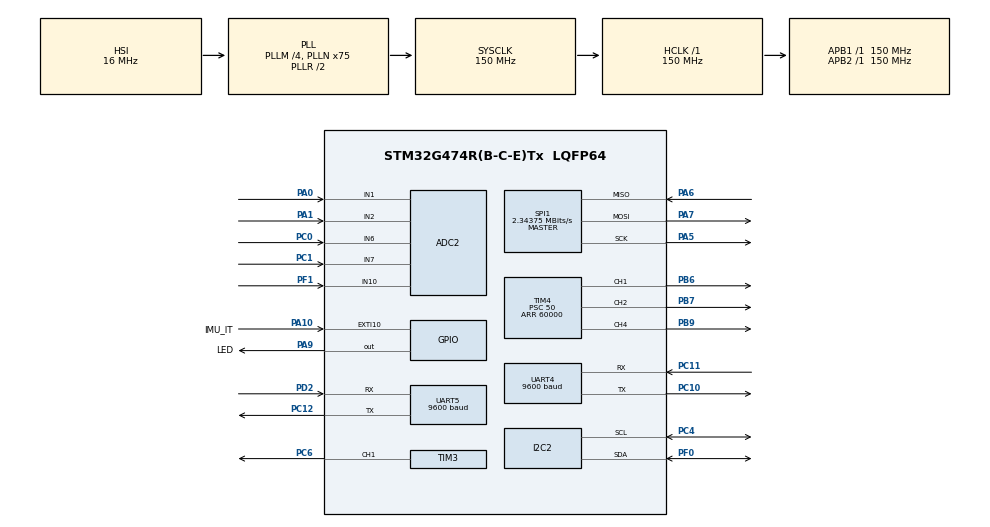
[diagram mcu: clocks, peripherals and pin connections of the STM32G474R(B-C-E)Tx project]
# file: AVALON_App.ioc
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ADC2.Channel-0\#ChannelRegularConversion=ADC_CHANNEL_1
ADC2.Channel-1\#ChannelRegularConversion=ADC_CHANNEL_6
ADC2.Channel-2\#ChannelRegularConversion=ADC_CHANNEL_10
ADC2.ClockPrescaler=ADC_CLOCK_ASYNC_DIV128
ADC2.ContinuousConvMode=ENABLE
ADC2.DMAContinuousRequests=ENABLE
ADC2.EOCSelection=ADC_EOC_SINGLE_CONV
ADC2.NbrOfConversion=3
ADC2.NbrOfConversionFlag=1
ADC2.OffsetNumber-0\#ChannelRegularConversion=ADC_OFFSET_NONE
ADC2.OffsetNumber-1\#ChannelRegularConversion=ADC_OFFSET_NONE
ADC2.OffsetNumber-2\#ChannelRegularConversion=ADC_OFFSET_NONE
ADC2.Overrun=ADC_OVR_DATA_OVERWRITTEN
ADC2.Rank-0\#ChannelRegularConversion=1
ADC2.Rank-1\#ChannelRegularConversion=2
ADC2.Rank-2\#ChannelRegularConversion=3
ADC2.SamplingTime-0\#ChannelRegularConversion=ADC_SAMPLETIME_47CYCLES_5
ADC2.SamplingTime-1\#ChannelRegularConversion=ADC_SAMPLETIME_47CYCLES_5
ADC2.SamplingTime-2\#ChannelRegularConversion=ADC_SAMPLETIME_47CYCLES_5
ADC2.SingleDiff-0\#ChannelRegularConversion=ADC_DIFFERENTIAL_ENDED
ADC2.SingleDiff-1\#ChannelRegularConversion=ADC_DIFFERENTIAL_ENDED
Dma.ADC2.0.Direction=DMA_PERIPH_TO_MEMORY
Dma.ADC2.0.EventEnable=DISABLE
Dma.ADC2.0.Instance=DMA1_Channel1
Dma.ADC2.0.MemDataAlignment=DMA_MDATAALIGN_HALFWORD
Dma.ADC2.0.MemInc=DMA_MINC_ENABLE
Dma.ADC2.0.Mode=DMA_CIRCULAR
Dma.ADC2.0.PeriphDataAlignment=DMA_PDATAALIGN_HALFWORD
Dma.ADC2.0.PeriphInc=DMA_PINC_DISABLE
Dma.ADC2.0.Polarity=HAL_DMAMUX_REQ_GEN_RISING
Dma.ADC2.0.Priority=DMA_PRIORITY_LOW
Dma.ADC2.0.RequestNumber=1
Dma.ADC2.0.SignalID=NONE
Dma.ADC2.0.SyncEnable=DISABLE
Dma.ADC2.0.SyncPolarity=HAL_DMAMUX_SYNC_NO_EVENT
Dma.ADC2.0.SyncRequestNumber=1
Dma.ADC2.0.SyncSignalID=NONE
Dma.Request0=ADC2
FREERTOS.BinarySemaphores01=GPS_UART_Semaphore,Dynamic,NULL;HG_PROTECTION_SEM,Dynamic,NULL
FREERTOS.INCLUDE_xTaskAbortDelay=1
FREERTOS.Mutexes01=I2C_Controller,Dynamic,NULL
FREERTOS.Tasks01=LedTask,0,128,StartLedTask,Default,NULL,Dynamic,NULL,NULL;Roll_PID,-2,128,StartRoll_PID,Default,NULL,Dynamic,NULL,NULL;Pitch_PID,-2,128,StartPitch_PID,Default,NULL,Dynamic,NULL,NULL;Yaw_PID,-2,128,StartYaw_PID,Default,NULL,Dynamic,NULL,NULL;PressureMonitor,-2,128,StartPressureMonitor,Default,NULL,Dynamic,NULL,NULL;GPS,-2,128,StartGPS,Default,NULL,Dynamic,NULL,NULL;MainTask,-2,256,StartMainTask,Default,NULL,Dynamic,NULL,NULL;BatteryMonitori,-2,128,StartBatteryMonitoring,Default,NULL,Dynamic,NULL,NULL;Telemetry,-3,256,StartTelemetry,Default,NULL,Dynamic,NULL,NULL
FREERTOS.configENABLE_FPU=1
FREERTOS.configTOTAL_HEAP_SIZE=12288
FREERTOS.configUSE_NEWLIB_REENTRANT=1
FREERTOS.configUSE_PREEMPTION=0
I2C2.Timing=0x20C0EDFF
Mcu.Family=STM32G4
Mcu.Name=STM32G474R(B-C-E)Tx
Mcu.Package=LQFP64
NVIC.DMA1_Channel1_IRQn=true\:5\:0\:false\:false\:true\:true\:false\:true\:true
NVIC.EXTI15_10_IRQn=true\:5\:0\:false\:false\:true\:true\:true\:true\:true
NVIC.PriorityGroup=NVIC_PRIORITYGROUP_4
NVIC.UART4_IRQn=true\:5\:0\:false\:false\:true\:true\:true\:true\:true
PA0.Mode=IN1-Differential
PA0.Signal=ADC2_IN1
PA1.Mode=IN1-Differential
PA1.Signal=ADC2_IN2
PA10.GPIO_Label=IMU_IT
PA10.Signal=GPXTI10
PA5.Mode=Full_Duplex_Master
PA5.Signal=SPI1_SCK
PA6.Mode=Full_Duplex_Master
PA6.Signal=SPI1_MISO
PA7.Mode=Full_Duplex_Master
PA7.Signal=SPI1_MOSI
PA9.GPIO_Label=LED
PA9.Signal=GPIO_Output
PB6.Signal=S_TIM4_CH1
PB7.Signal=S_TIM4_CH2
PB9.Signal=S_TIM4_CH4
PC0.Mode=IN6-Differential
PC0.Signal=ADC2_IN6
PC1.Mode=IN6-Differential
PC1.Signal=ADC2_IN7
PC10.Mode=Asynchronous
PC10.Signal=UART4_TX
PC11.Mode=Asynchronous
PC11.Signal=UART4_RX
PC12.Mode=Asynchronous
PC12.Signal=UART5_TX
PC4.Mode=I2C
PC4.Signal=I2C2_SCL
PC6.Signal=S_TIM3_CH1
PD2.Mode=Asynchronous
PD2.Signal=UART5_RX
PF0-OSC_IN.Mode=I2C
PF0-OSC_IN.Signal=I2C2_SDA
PF1-OSC_OUT.Mode=IN10-Single-Ended
PF1-OSC_OUT.Signal=ADC2_IN10
ProjectManager.HeapSize=0x200
ProjectManager.StackSize=0x400
ProjectManager.TargetToolchain=STM32CubeIDE
RCC.ADC12Freq_Value=150000000
RCC.ADC345Freq_Value=150000000
RCC.AHBFreq_Value=150000000
RCC.APB1Freq_Value=150000000
RCC.APB1TimFreq_Value=150000000
RCC.APB2Freq_Value=150000000
RCC.APB2TimFreq_Value=150000000
RCC.CK48CLockSelection=RCC_USBCLKSOURCE_HSI48
RCC.CortexFreq_Value=150000000
RCC.EXTERNAL_CLOCK_VALUE=12288000
RCC.HCLKFreq_Value=150000000
RCC.HSE_VALUE=8000000
RCC.HSI48_VALUE=48000000
RCC.HSI_VALUE=16000000
RCC.LSE_VALUE=32768
RCC.PLLM=RCC_PLLM_DIV4
RCC.PLLN=75
RCC.SYSCLKFreq_VALUE=150000000
RCC.SYSCLKSource=RCC_SYSCLKSOURCE_PLLCLK
RCC.USBFreq_Value=48000000
RCC.VCOOutputFreq_Value=300000000
SH.S_TIM3_CH1.0=TIM3_CH1,PWM Generation1 CH1
SH.S_TIM4_CH1.0=TIM4_CH1,PWM Generation1 CH1
SH.S_TIM4_CH2.0=TIM4_CH2,PWM Generation2 CH2
SH.S_TIM4_CH4.0=TIM4_CH4,PWM Generation4 CH4
SPI1.BaudRatePrescaler=SPI_BAUDRATEPRESCALER_64
SPI1.CLKPhase=SPI_PHASE_2EDGE
SPI1.CalculateBaudRate=2.34375 MBits/s
SPI1.DataSize=SPI_DATASIZE_8BIT
SPI1.Direction=SPI_DIRECTION_2LINES
SPI1.Mode=SPI_MODE_MASTER
SPI1.VirtualType=VM_MASTER
TIM2.Channel-PWM\ Generation3\ No\ Output=TIM_CHANNEL_3
TIM2.PeriodNoDither=1440000
TIM3.Channel-PWM\ Generation1\ CH1=TIM_CHANNEL_1
TIM3.PeriodNoDither=7200
TIM3.Prescaler=50
TIM4.Channel-PWM\ Generation1\ CH1=TIM_CHANNEL_1
TIM4.Channel-PWM\ Generation2\ CH2=TIM_CHANNEL_2
TIM4.Channel-PWM\ Generation4\ CH4=TIM_CHANNEL_4
TIM4.PeriodNoDither=60000
TIM4.Prescaler=50
TIM4.PulseNoDither_1=2880
TIM4.PulseNoDither_2=2880
TIM4.PulseNoDither_4=6000
UART4.BaudRate=9600
UART5.BaudRate=9600
VP_FREERTOS_VS_CMSIS_V1.Mode=CMSIS_V1
VP_TIM2_VS_no_output3.Mode=PWM Generation3 No Output
board=custom

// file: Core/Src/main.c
/* USER CODE BEGIN Header */
/**
  ******************************************************************************
  * @file           : main.c
  * @brief          : Main program body
  ******************************************************************************
  * @attention
  *
  * Copyright (c) 2023 STMicroelectronics.
  * All rights reserved.
  *
  * This software is licensed under terms that can be found in the LICENSE file
  * in the root directory of this software component.
  * If no LICENSE file comes with this software, it is provided AS-IS.
  *
  ******************************************************************************
  */
/* USER CODE END Header */
#include "main.h"
#include "cmsis_os.h"
#include "adc.h"
#include "dma.h"
#include "i2c.h"
#include "spi.h"
#include "tim.h"
#include "usart.h"
#include "gpio.h"

/* USER CODE BEGIN PTD */

/*Struct use for Inertial Measurement unit data*/
BNO055_t IMU_BNO055_struct;
/*Struct use to send command to the aicraft (can be control by supperior layer*/
COMMAND_t COMMAND_struct;
/*struct use to control hardware (like flaps or motor %)*/
PROPULSION_t HDW_CONTROLLER_struct;
/*Struct use for pressure monitoring*/
ALTIMETER_t ALTIMETER_struct;
/*Struct use for gps monitoring*/
GPS_t GPS_struct;
/*Struct use to store battery data*/
Battery_t BATTERY_Struct;

/* USER CODE END PTD */

/* USER CODE BEGIN PD */

uint8_t gps_receive_rx[BUFFER_SIZE_NMEA];
uint16_t BatteryMonitoringData[CONVERSION_COUNT];

/* USER CODE END PD */

void SystemClock_Config(void);
void MX_FREERTOS_Init(void);

int main(void)
{
  /* USER CODE BEGIN 1 */
	SCB->VTOR = 0x0800E000;
	__enable_irq();
  /* USER CODE END 1 */

  /* MCU Configuration--------------------------------------------------------*/

  /* Reset of all peripherals, Initializes the Flash interface and the Systick. */
  HAL_Init();

  /* Configure the system clock */
  SystemClock_Config();

  /* Initialize all configured peripherals */
  MX_GPIO_Init();
  MX_DMA_Init();
  MX_I2C2_Init();
  MX_TIM2_Init();
  MX_TIM3_Init();
  MX_TIM4_Init();
  MX_UART4_Init();
  MX_UART5_Init();
  MX_ADC2_Init();
  MX_SPI1_Init();
  /* USER CODE BEGIN 2 */

  /*Timer start flaps and throttle + buzzer*/
  HAL_TIM_PWM_Start(&htim3, TIM_CHANNEL_1);
  HAL_TIM_PWM_Start(&htim4, TIM_CHANNEL_1);
  HAL_TIM_PWM_Start(&htim4, TIM_CHANNEL_2);
  HAL_TIM_PWM_Start(&htim4, TIM_CHANNEL_4);

  /*Start ADC conversion with DMA request*/
  HAL_ADC_Start_DMA(&hadc2, &BatteryMonitoringData, CONVERSION_COUNT);
  /* USER CODE END 2 */

  /* Call init function for freertos objects (in freertos.c) */
  MX_FREERTOS_Init();

  /* Start scheduler */
  osKernelStart();
  /* We should never get here as control is now taken by the scheduler */
  /* Infinite loop */
  while (1)
  {

  }
}

void SystemClock_Config(void)
{
  RCC_OscInitTypeDef RCC_OscInitStruct = {0};
  RCC_ClkInitTypeDef RCC_ClkInitStruct = {0};

  /** Configure the main internal regulator output voltage
  */
  HAL_PWREx_ControlVoltageScaling(PWR_REGULATOR_VOLTAGE_SCALE1);

  /** Initializes the RCC Oscillators according to the specified parameters
  * in the RCC_OscInitTypeDef structure.
  */
  RCC_OscInitStruct.OscillatorType = RCC_OSCILLATORTYPE_HSI;
  RCC_OscInitStruct.HSIState = RCC_HSI_ON;
  RCC_OscInitStruct.HSICalibrationValue = RCC_HSICALIBRATION_DEFAULT;
  RCC_OscInitStruct.PLL.PLLState = RCC_PLL_ON;
  RCC_OscInitStruct.PLL.PLLSource = RCC_PLLSOURCE_HSI;
  RCC_OscInitStruct.PLL.PLLM = RCC_PLLM_DIV4;
  RCC_OscInitStruct.PLL.PLLN = 75;
  RCC_OscInitStruct.PLL.PLLP = RCC_PLLP_DIV2;
  RCC_OscInitStruct.PLL.PLLQ = RCC_PLLQ_DIV2;
  RCC_OscInitStruct.PLL.PLLR = RCC_PLLR_DIV2;
  if (HAL_RCC_OscConfig(&RCC_OscInitStruct) != HAL_OK)
  {
    Error_Handler();
  }

  /** Initializes the CPU, AHB and APB buses clocks
  */
  RCC_ClkInitStruct.ClockType = RCC_CLOCKTYPE_HCLK|RCC_CLOCKTYPE_SYSCLK
                              |RCC_CLOCKTYPE_PCLK1|RCC_CLOCKTYPE_PCLK2;
  RCC_ClkInitStruct.SYSCLKSource = RCC_SYSCLKSOURCE_PLLCLK;
  RCC_ClkInitStruct.AHBCLKDivider = RCC_SYSCLK_DIV1;
  RCC_ClkInitStruct.APB1CLKDivider = RCC_HCLK_DIV1;
  RCC_ClkInitStruct.APB2CLKDivider = RCC_HCLK_DIV1;

  if (HAL_RCC_ClockConfig(&RCC_ClkInitStruct, FLASH_LATENCY_4) != HAL_OK)
  {
    Error_Handler();
  }
}

/* USER CODE BEGIN 4 */

/*Function use to convert float to string*/

/* USER CODE END 4 */

void HAL_TIM_PeriodElapsedCallback(TIM_HandleTypeDef *htim)
{
  if (htim->Instance == TIM1) {
    HAL_IncTick();
  }
}

void Error_Handler(void)
{
  __disable_irq();
  while (1)
  {
  }
}

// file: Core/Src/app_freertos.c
/* USER CODE BEGIN Header */
/**
  ******************************************************************************
  * File Name          : app_freertos.c
  * Description        : Code for freertos applications
  ******************************************************************************
  * @attention
  *
  * Copyright (c) 2023 STMicroelectronics.
  * All rights reserved.
  *
  * This software is licensed under terms that can be found in the LICENSE file
  * in the root directory of this software component.
  * If no LICENSE file comes with this software, it is provided AS-IS.
  *
  ******************************************************************************
  */
/* USER CODE END Header */

#include "FreeRTOS.h"
#include "task.h"
#include "main.h"
#include "cmsis_os.h"

/* USER CODE BEGIN Includes */
#include "main.h"
/* USER CODE END Includes */

/* USER CODE BEGIN PTD */
extern BNO055_t IMU_BNO055_struct;
extern COMMAND_t COMMAND_struct;
extern PROPULSION_t HDW_CONTROLLER_struct;
extern ALTIMETER_t ALTIMETER_struct;
extern GPS_t GPS_struct;
extern Battery_t BATTERY_Struct;

extern I2C_HandleTypeDef hi2c2;
extern TIM_HandleTypeDef htim2;
extern TIM_HandleTypeDef htim3;
extern TIM_HandleTypeDef htim4;
extern UART_HandleTypeDef huart4;
extern UART_HandleTypeDef huart5;
extern gps_receive_rx[BUFFER_SIZE_NMEA];
extern uint16_t BatteryMonitoringData[CONVERSION_COUNT];

/*Structure definition for math.h pid*/
arm_pid_instance_f32 hpid_pitch;
arm_pid_instance_f32 hpid_yaw;
arm_pid_instance_f32 hpid_roll;
arm_pid_instance_f32 hpid_speed;
arm_pid_instance_f32 hpid_altitude;

/* USER CODE END PTD */

osThreadId LedTaskHandle;
osThreadId Roll_PIDHandle;
osThreadId Pitch_PIDHandle;
osThreadId Yaw_PIDHandle;
osThreadId PressureMonitorHandle;
osThreadId GPSHandle;
osThreadId MainTaskHandle;
osThreadId BatteryMonitoriHandle;
osThreadId TelemetryHandle;
osMutexId I2C_ControllerHandle;
osSemaphoreId GPS_UART_SemaphoreHandle;
osSemaphoreId HG_PROTECTION_SEMHandle;

void StartLedTask(void const * argument);
void StartRoll_PID(void const * argument);
void StartPitch_PID(void const * argument);
void StartYaw_PID(void const * argument);
void StartPressureMonitor(void const * argument);
void StartGPS(void const * argument);
void StartMainTask(void const * argument);
void StartBatteryMonitoring(void const * argument);
void StartTelemetry(void const * argument);

void MX_FREERTOS_Init(void); /* (MISRA C 2004 rule 8.1) */

void MX_FREERTOS_Init(void) {
  /* USER CODE BEGIN Init */

	/*Configure output for timer*/
	PropulsionAndControl_Init(&HDW_CONTROLLER_struct, ESC_GPIO_PIN, ESC_GPIO_PORT, SERVO_LEFT_GPIO_PIN, SERVO_LEFT_GPIO_PORT, SERVO_RIGHT_GPIO_PIN, SERVO_RIGHT_GPIO_PORT, ESC_TIMER_CHANNEL_NBR, SERVO_LEFT_TIMER_CHANNEL_NBR, SERVO_RIGHT_TIMER_CHANNEL_NBR, &htim4);

	/*Init for IMU sensors*/
	BNO055_Init(&hi2c2, &IMU_BNO055_struct);

  /* USER CODE END Init */
  /* Create the mutex(es) */
  /* definition and creation of I2C_Controller */
  osMutexDef(I2C_Controller);
  I2C_ControllerHandle = osMutexCreate(osMutex(I2C_Controller));

  /* Create the semaphores(s) */
  /* definition and creation of GPS_UART_Semaphore */
  osSemaphoreDef(GPS_UART_Semaphore);
  GPS_UART_SemaphoreHandle = osSemaphoreCreate(osSemaphore(GPS_UART_Semaphore), 1);

  /* definition and creation of HG_PROTECTION_SEM */
  osSemaphoreDef(HG_PROTECTION_SEM);
  HG_PROTECTION_SEMHandle = osSemaphoreCreate(osSemaphore(HG_PROTECTION_SEM), 1);

  /* Create the thread(s) */
  /* definition and creation of LedTask */
  osThreadDef(LedTask, StartLedTask, osPriorityNormal, 0, 128);
  LedTaskHandle = osThreadCreate(osThread(LedTask), NULL);

  /* definition and creation of Roll_PID */
  osThreadDef(Roll_PID, StartRoll_PID, osPriorityLow, 0, 128);
  Roll_PIDHandle = osThreadCreate(osThread(Roll_PID), NULL);

  /* definition and creation of Pitch_PID */
  osThreadDef(Pitch_PID, StartPitch_PID, osPriorityLow, 0, 128);
  Pitch_PIDHandle = osThreadCreate(osThread(Pitch_PID), NULL);

  /* definition and creation of Yaw_PID */
  osThreadDef(Yaw_PID, StartYaw_PID, osPriorityLow, 0, 128);
  Yaw_PIDHandle = osThreadCreate(osThread(Yaw_PID), NULL);

  /* definition and creation of PressureMonitor */
  osThreadDef(PressureMonitor, StartPressureMonitor, osPriorityLow, 0, 128);
  PressureMonitorHandle = osThreadCreate(osThread(PressureMonitor), NULL);

  /* definition and creation of GPS */
  osThreadDef(GPS, StartGPS, osPriorityLow, 0, 128);
  GPSHandle = osThreadCreate(osThread(GPS), NULL);

  /* definition and creation of MainTask */
  osThreadDef(MainTask, StartMainTask, osPriorityLow, 0, 256);
  MainTaskHandle = osThreadCreate(osThread(MainTask), NULL);

  /* definition and creation of BatteryMonitori */
  osThreadDef(BatteryMonitori, StartBatteryMonitoring, osPriorityLow, 0, 128);
  BatteryMonitoriHandle = osThreadCreate(osThread(BatteryMonitori), NULL);

  /* definition and creation of Telemetry */
  osThreadDef(Telemetry, StartTelemetry, osPriorityIdle, 0, 256);
  TelemetryHandle = osThreadCreate(osThread(Telemetry), NULL);

}

void StartLedTask(void const * argument)
{
  /* USER CODE BEGIN StartLedTask */
  /* Infinite loop */
  for(;;)
  {
	htim3.Instance->CCR1 = 1000;
	vTaskDelay(100);
	htim3.Instance->CCR1 = 0;
	HAL_GPIO_TogglePin(LED_GPIO_Port, LED_Pin);
    vTaskDelay(5000);
  }
  /* USER CODE END StartLedTask */
}

void StartRoll_PID(void const * argument)
{
  /* USER CODE BEGIN StartRoll_PID */

	/*PID factor init*/
	Pid_Init(&hpid_roll, PID_KP_ROLL, PID_KI_ROLL, PID_KD_ROLL);

  /* Infinite loop */
	for(;;)
	{	/*Read roll axis data*/
		xSemaphoreTake(I2C_ControllerHandle,25);
		BNO055_ReadEuler_Roll(&hi2c2, &IMU_BNO055_struct);
		xSemaphoreGive(I2C_ControllerHandle);

		/*Compensate PID*/
		Pid_CompensateRoll(&hpid_roll, &COMMAND_struct, &IMU_BNO055_struct, &HDW_CONTROLLER_struct);
		vTaskDelay(150);
	}
  /* USER CODE END StartRoll_PID */
}

void StartPitch_PID(void const * argument)
{
  /* USER CODE BEGIN StartPitch_PID */
	Pid_Init(&hpid_pitch, PID_KP_PITCH, PID_KI_PITCH, PID_KD_PITCH);
  /* Infinite loop */
  for(;;)
  {
	  	/*Read pitch axis data*/
		xSemaphoreTake(I2C_ControllerHandle,25);
		BNO055_ReadEuler_Pitch(&hi2c2, &IMU_BNO055_struct);
		xSemaphoreGive(I2C_ControllerHandle);

		/*Compensate PID */
		Pid_CompensatePitch(&hpid_pitch, &COMMAND_struct, &IMU_BNO055_struct, &HDW_CONTROLLER_struct);
		vTaskDelay(150);
  }
  /* USER CODE END StartPitch_PID */
}

/* USER CODE BEGIN Header_StartYaw_PID */
/**
* @brief Process use to read IMU yaw axis and use PID to compensate plane movement.
* @param argument: Not used
* @retval None
*/
/* USER CODE END Header_StartYaw_PID */
void StartYaw_PID(void const * argument)
{
  /* USER CODE BEGIN StartYaw_PID */
	Pid_Init(&hpid_yaw, PID_KP_YAW, PID_KI_YAW, PID_KD_YAW);
  /* Infinite loop */
  for(;;)
  {
	  	/*Read yaw axis data*/
		xSemaphoreTake(I2C_ControllerHandle,25);
		BNO055_ReadEuler_Yaw(&hi2c2, &IMU_BNO055_struct);
		xSemaphoreGive(I2C_ControllerHandle);

		/*Compensate PID step 1 - error calculation */
		Pid_CompensateYaw(&hpid_yaw, &COMMAND_struct, &IMU_BNO055_struct, &HDW_CONTROLLER_struct);
		vTaskDelay(150);
  }
  /* USER CODE END StartYaw_PID */
}

void StartPressureMonitor(void const * argument)
{
  /* USER CODE BEGIN StartPressureMonitor */
	BMP390_Init(&hi2c2);

	/*Barometer calibration*/
	BMP390_GetP0Pressure(&hi2c2, &ALTIMETER_struct, I2C_ControllerHandle);

  /* Infinite loop */
  for(;;)
  {
	  BMP390_ReadPress(&hi2c2,&ALTIMETER_struct, I2C_ControllerHandle);
	  BMP390_ReadTemp(&hi2c2, &ALTIMETER_struct, I2C_ControllerHandle);
	  BMP390_GetRelativeAltitude(&ALTIMETER_struct);
	  /*Recalibrate sensor if gps data move too much*/
	  vTaskDelay(500);
  }
  /* USER CODE END StartPressureMonitor */
}

void StartGPS(void const * argument)
{
  /* USER CODE BEGIN StartGPS */
  /* Infinite loop */
  for(;;)
  {
	  /*TO BE DONE marche pas trop */
	  /*When UART IT then block task until IT*/
	  HAL_UART_Receive_IT(&huart4, &gps_receive_rx, BUFFER_SIZE_NMEA);
	  xSemaphoreTake(GPS_UART_SemaphoreHandle,100000);
	  gps_ReadNMEA(gps_receive_rx,&GPS_struct);
	  vTaskDelay(1000);
  }
  /* USER CODE END StartGPS */
}

void StartMainTask(void const * argument)
{
  /* USER CODE BEGIN StartMainTask */
	  xSemaphoreTake(HG_PROTECTION_SEMHandle,9999999999999999);
	  xSemaphoreTake(HG_PROTECTION_SEMHandle,9999999999999999);
	for(int i=0;i<5;i++){
		htim3.Instance->CCR1 = 1000;
		vTaskDelay(100);
		htim3.Instance->CCR1 = 0;
		vTaskDelay(100);
	}
	uint8_t test[100];
  /* Infinite loop */
  for(;;)
  {

//	  BNO055_ReadLina(&hi2c2, &IMU_BNO055_struct, I2C_ControllerHandle);
	  BNO055_ReadAccel(&hi2c2, &IMU_BNO055_struct, I2C_ControllerHandle);
	  BNO055_ComputeSpeed(&hi2c2, &IMU_BNO055_struct);

	  vTaskDelay(500);
  }
  /* USER CODE END StartMainTask */
}

void StartBatteryMonitoring(void const * argument)
{
  /* USER CODE BEGIN StartBatteryMonitoring */
  /* Infinite loop */
  for(;;)
  {
	Battery_ReadBatteryVoltage(&BATTERY_Struct,BatteryMonitoringData);
	Battery_ReadCurrent5V(&BATTERY_Struct, BatteryMonitoringData);
	Battery_ReadCurrent3V3(&BATTERY_Struct, BatteryMonitoringData);
	Battery_RemaningTime(&BATTERY_Struct);
    vTaskDelay(5000);
  }
  /* USER CODE END StartBatteryMonitoring */
}

void StartTelemetry(void const * argument)
{
  /* USER CODE BEGIN StartTelemetry */
	WIOE5_Init(&huart5);
  /* Infinite loop */
  for(;;)
  {
	  vTaskDelay(1000);
  }
  /* USER CODE END StartTelemetry */
}
